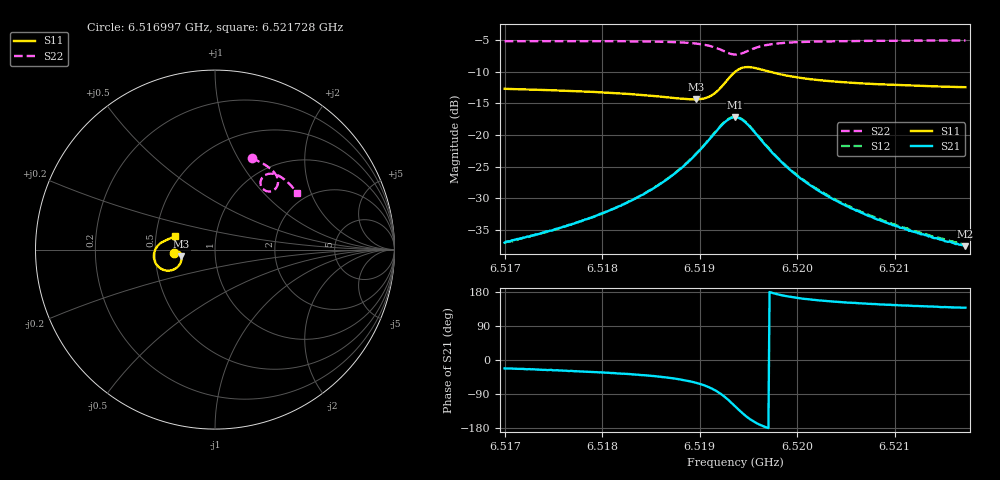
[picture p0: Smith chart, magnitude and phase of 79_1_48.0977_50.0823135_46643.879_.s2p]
#  HZ  S  RI  R  50.00
! Rohde & Schwarz Vector Network Analyzer
! Rohde-Schwarz,ZNB20-2Port,1311601062101988,3.16
! Created: UTC 12/23/2023, 3:42:34 AM
! freq[Hz]  re:S11  im:S11  re:S21  im:S21  re:S12  im:S12  re:S22  im:S22
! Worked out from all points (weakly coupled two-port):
!   401 points, 6.516997 GHz to 6.521728 GHz, reference 50 ohm
!   highest |S21| = -17.21 dB at 6.519363 GHz (marker M1); lowest = -37.5 dB at 6.521728 GHz (marker M2)
!   lowest |S11| = -14.4 dB at 6.51896 GHz (marker M3), VSWR 1.47, Z = 34.2 - j2.69 ohm
!   |S11| at or under -10 dB: start of sweep to 6.519367 GHz; 6.519712 GHz to end of sweep
!   |S22| runs from -7.3 to -5.1 dB; largest |S21 - S12| = 0.0042
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6.5169974e9  -0.2306 -0.0173  0.0131 -0.00535  0.0133 -0.00494  0.2035 0.5091
6.5174704e9  -0.2252 -0.0105  0.0158 -0.00774  0.016 -0.0074  0.2384 0.4944
6.5177897e9  -0.2205 -0.00689  0.0182 -0.0105  0.0184 -0.01  0.262 0.4821
6.5182036e9  -0.2123 -0.00484  0.0227 -0.0167  0.0232 -0.0158  0.2932 0.4628
6.518582e9  -0.201 -0.0096  0.0291 -0.0282  0.0301 -0.0273  0.3224 0.4382
6.5188067e9  -0.1921 -0.0209  0.0337 -0.0427  0.0352 -0.0418  0.3397 0.416
6.5189605e9  -0.1867 -0.038  0.0351 -0.0608  0.0373 -0.0601  0.3492 0.3933
6.5190551e9  -0.187 -0.0556  0.032 -0.0781  0.0345 -0.0777  0.3512 0.374
6.5191378e9  -0.1939 -0.0773  0.0224 -0.0976  0.0255 -0.0977  0.3462 0.3539
6.5192679e9  -0.2366 -0.1135  -0.0213 -0.1263  -0.0177 -0.1278  0.3132 0.3253
6.5193625e9  -0.2944 -0.1099  -0.0728 -0.1171  -0.0701 -0.1201  0.2733 0.3327
6.5194217e9  -0.3244 -0.0855  -0.0969 -0.0927  -0.095 -0.0961  0.2569 0.3536
6.5194808e9  -0.3388 -0.0534  -0.1062 -0.0631  -0.1052 -0.0666  0.2539 0.3777
6.5195754e9  -0.3364 -0.00952  -0.0994 -0.0258  -0.0994 -0.0288  0.268 0.4062
6.51967e9  -0.3221 0.0175  -0.0839 -0.005  -0.0846 -0.0074  0.2886 0.4192
6.5199183e9  -0.2881 0.0456  -0.0526 0.012  -0.0532 0.0107  0.3315 0.4206
6.5201549e9  -0.269 0.0543  -0.0366 0.014  -0.0374 0.0131  0.3587 0.4096
6.5203559e9  -0.2584 0.0586  -0.0285 0.0135  -0.0294 0.0129  0.3766 0.3984
6.5205806e9  -0.2499 0.0622  -0.0227 0.0127  -0.0232 0.0122  0.3933 0.3855
6.5209472e9  -0.2396 0.0677  -0.0164 0.0112  -0.0171 0.011  0.4168 0.3637
6.5212073e9  -0.2341 0.0712  -0.0137 0.0105  -0.0142 0.0101  0.4314 0.348
6.5217277e9  -0.2249 0.0785  -0.00987 0.00889  -0.0104 0.00885  0.4577 0.3159
